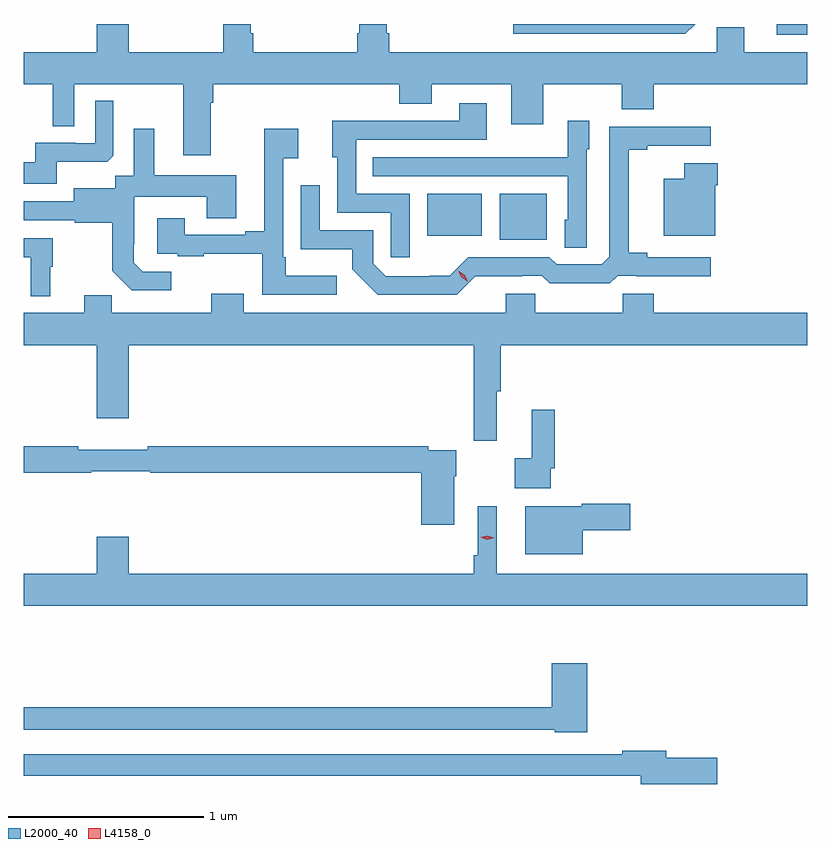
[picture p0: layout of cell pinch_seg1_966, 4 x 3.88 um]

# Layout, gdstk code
import gdstk
lib = gdstk.Library(unit=1e-6, precision=1e-09)
def R(c, l, rs):  # rectangles x0, y0, x1, y1
    for r in rs: c.add(gdstk.rectangle(r[:2], r[2:], *l))
def P(c, l, *ps):  # polygons
    for p in ps: c.add(gdstk.Polygon(p, *l))
L2000_40 = (2000, 40)
L4158_0 = (4158, 0)

pinch_seg1_966 = lib.new_cell('pinch_seg1_966')
R(pinch_seg1_966, L2000_40, [(322.91,581.573,323.149,581.809), (322.538,581.594,322.816,581.809), (324.323,582.621,324.479,582.675)])
P(pinch_seg1_966, L2000_40, [(323.907,582.675),(322.977,582.675),(322.977,582.624),(323.856,582.624)],
  [(321.433,582.272),(321.446,582.272),(321.446,582.368),(322.397,582.368),(322.397,582.269),(322.561,582.269),(322.561,582.368),(322.967,582.368),(322.967,582.162),(323.131,582.162),(323.131,582.368),(323.531,582.368),(323.531,582.24),(323.695,582.24),(323.695,582.368),(324.479,582.368),(324.479,582.532),(324.157,582.532),(324.157,582.659),(324.018,582.659),(324.018,582.532),(322.346,582.532),(322.346,582.628),(322.333,582.628),(322.333,582.675),(322.193,582.675),(322.193,582.628),(322.181,582.628),(322.181,582.532),(321.65,582.532),(321.65,582.628),(321.637,582.628),(321.637,582.675),(321.497,582.675),(321.497,582.532),(321.016,582.532),(321.016,582.675),(320.852,582.675),(320.852,582.532),(320.479,582.532),(320.479,582.368),(320.628,582.368),(320.628,582.154),(320.736,582.154),(320.736,582.368),(321.293,582.368),(321.293,582.006),(321.433,582.006)],
  [(320.647,581.972),(320.905,581.972),(320.937,582.003),(320.937,582.283),(320.844,582.283),(320.844,582.066),(320.744,582.066),(320.744,582.069),(320.537,582.069),(320.537,581.968),(320.479,581.968),(320.479,581.859),(320.647,581.859)],
  [(322.449,581.808),(322.176,581.808),(322.176,582.084),(322.843,582.084),(322.843,582.271),(322.703,582.271),(322.703,582.18),(322.273,582.18),(322.273,582.182),(322.055,582.182),(322.055,581.994),(322.08,581.994),(322.08,581.712),(322.353,581.712),(322.353,581.484),(322.449,581.484)],
  [(323.352,582.036),(323.365,582.036),(323.365,582.181),(323.256,582.181),(323.256,581.995),(322.939,581.995),(322.939,581.994),(322.261,581.994),(322.261,581.898),(323.256,581.898),(323.256,581.676),(323.24,581.676),(323.24,581.533),(323.352,581.533)],
  [(322.784,581.387),(323.024,581.387),(323.024,581.391),(323.124,581.391),(323.164,581.352),(323.471,581.352),(323.511,581.391),(323.605,581.391),(323.605,581.387),(323.986,581.387),(323.986,581.484),(323.662,581.484),(323.662,581.507),(323.567,581.507),(323.567,582.034),(323.662,582.034),(323.662,582.054),(323.986,582.054),(323.986,582.15),(323.469,582.15),(323.469,581.487),(323.43,581.448),(323.199,581.448),(323.163,581.484),(322.749,581.484),(322.655,581.39),(322.55,581.39),(322.55,581.388),(322.326,581.388),(322.263,581.451),(322.263,581.622),(321.99,581.622),(321.99,581.851),(321.894,581.851),(321.894,581.525),(322.156,581.525),(322.156,581.423),(322.286,581.292),(322.689,581.292)],
  [(322.078,581.389),(321.817,581.389),(321.817,581.485),(321.804,581.485),(321.804,581.99),(321.88,581.99),(321.88,582.139),(321.707,582.139),(321.707,581.617),(321.611,581.617),(321.611,581.598),(321.301,581.598),(321.301,581.683),(321.161,581.683),(321.161,581.502),(321.265,581.502),(321.265,581.49),(321.397,581.49),(321.397,581.501),(321.696,581.501),(321.696,581.292),(322.078,581.292)],
  [(321.232,581.409),(321.087,581.409),(321.04,581.456),(321.04,581.551),(321.042,581.551),(321.042,581.792),(321.413,581.792),(321.413,581.683),(321.565,581.683),(321.565,581.902),(321.145,581.902),(321.145,582.139),(321.041,582.139),(321.041,581.9),(320.946,581.9),(320.946,581.836),(320.735,581.836),(320.735,581.769),(320.479,581.769),(320.479,581.673),(320.739,581.673),(320.739,581.661),(320.931,581.661),(320.931,581.415),(321.031,581.315),(321.232,581.315)],
  [(324.01,581.852),(324.023,581.852),(324.023,581.965),(323.852,581.965),(323.852,581.884),(323.747,581.884),(323.747,581.594),(324.01,581.594)],
  [(320.614,581.436),(320.626,581.436),(320.626,581.58),(320.479,581.58),(320.479,581.484),(320.516,581.484),(320.516,581.285),(320.614,581.285)],
  [(322.895,580.8),(322.913,580.8),(322.913,581.036),(324.479,581.036),(324.479,581.2),(323.696,581.2),(323.696,581.298),(323.536,581.298),(323.536,581.2),(323.091,581.2),(323.091,581.298),(322.94,581.298),(322.94,581.2),(321.601,581.2),(321.601,581.299),(321.437,581.299),(321.437,581.2),(320.927,581.2),(320.927,581.291),(320.789,581.291),(320.789,581.2),(320.479,581.2),(320.479,581.036),(320.852,581.036),(320.852,580.662),(321.016,580.662),(321.016,581.036),(322.777,581.036),(322.777,580.548),(322.895,580.548)],
  [(323.169,580.408),(323.189,580.408),(323.189,580.705),(323.072,580.705),(323.072,580.457),(322.986,580.457),(322.986,580.304),(323.169,580.304)],
  [(322.678,580.367),(322.686,580.367),(322.686,580.5),(322.544,580.5),(322.544,580.52),(321.112,580.52),(321.112,580.501),(320.756,580.501),(320.756,580.52),(320.479,580.52),(320.479,580.384),(320.824,580.384),(320.824,580.392),(321.124,580.392),(321.124,580.384),(322.508,580.384),(322.508,580.119),(322.678,580.119)],
  [(323.332,580.091),(323.575,580.091),(323.575,580.226),(323.328,580.226),(323.328,580.213),(323.039,580.213),(323.039,579.968),(323.332,579.968)],
  [(324.479,579.868),(322.894,579.868),(322.894,580.213),(322.797,580.213),(322.797,579.964),(322.777,579.964),(322.777,579.868),(321.016,579.868),(321.016,580.057),(320.852,580.057),(320.852,579.868),(320.479,579.868),(320.479,579.704),(324.479,579.704)],
  [(323.357,579.412),(323.174,579.412),(323.174,579.188),(320.479,579.188),(320.479,579.072),(323.19,579.072),(323.19,579.059),(323.357,579.059)],
  [(324.019,578.93),(323.758,578.93),(323.758,578.966),(323.534,578.966),(323.534,578.946),(320.479,578.946),(320.479,578.838),(323.63,578.838),(323.63,578.795),(324.019,578.795)])
P(pinch_seg1_966, L4158_0, [(322.846,580.043),(322.811,580.054),(322.81,580.054),(322.811,580.054),(322.846,580.063),(322.881,580.053),(322.882,580.052),(322.881,580.052)],
  [(322.744,581.361),(322.714,581.382),(322.698,581.416),(322.698,581.416),(322.698,581.416),(322.729,581.395),(322.745,581.361),(322.745,581.361)])

lib.write_gds('pinch_seg1_966.gds')
